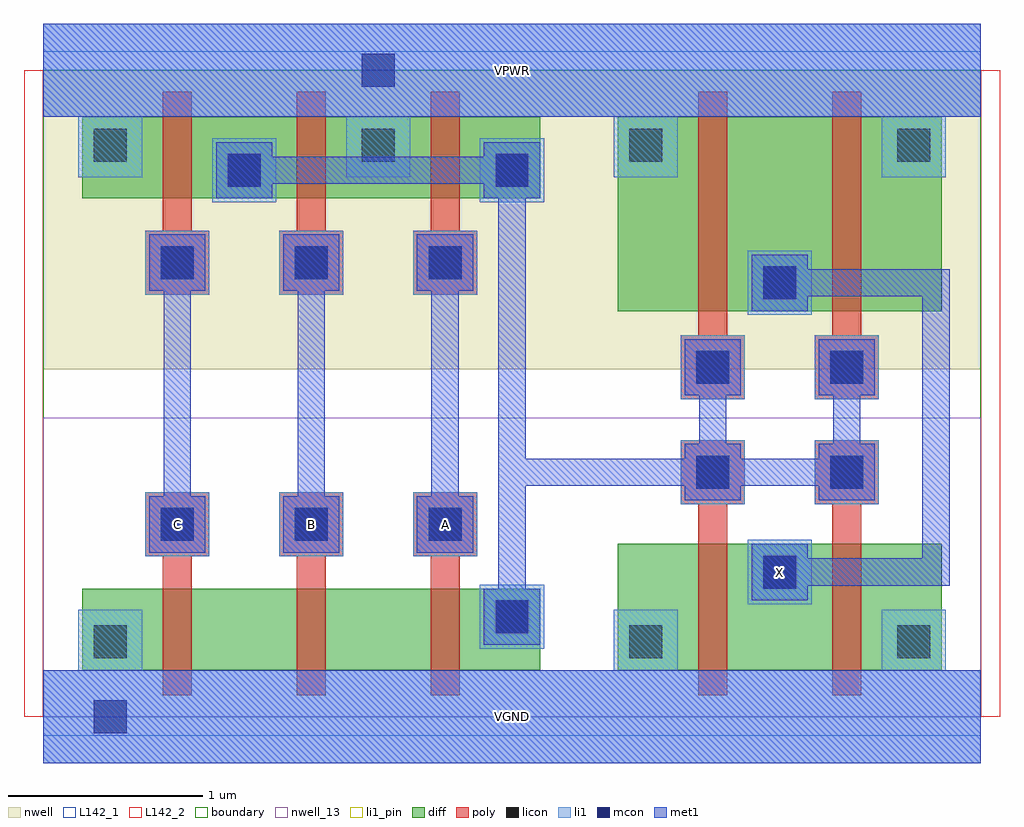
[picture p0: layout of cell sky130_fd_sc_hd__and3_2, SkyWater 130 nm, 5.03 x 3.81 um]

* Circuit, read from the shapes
.subckt sky130_fd_sc_hd__and3_2 A B C VGND VPWR X
XM1 n1 C VGND VSUBS sky130_fd_pr__nfet_01v8 w=0.42 l=0.15
XM2 n2 B n1 VSUBS sky130_fd_pr__nfet_01v8 w=0.42 l=0.15
XM3 n3 A n2 VSUBS sky130_fd_pr__nfet_01v8 w=0.42 l=0.15
XM4 X n3 VGND VSUBS sky130_fd_pr__nfet_01v8 w=0.65 l=0.15 m=2
XM5 n3 C VPWR n4 sky130_fd_pr__pfet_01v8 w=0.42 l=0.15
XM6 VPWR B n3 n4 sky130_fd_pr__pfet_01v8 w=0.42 l=0.15
XM7 n3 A VPWR n4 sky130_fd_pr__pfet_01v8 w=0.42 l=0.15
XM8 X n3 VPWR n4 sky130_fd_pr__pfet_01v8 w=1 l=0.15 m=2
.ends

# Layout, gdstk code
import gdstk
lib = gdstk.Library(unit=1e-6, precision=1e-09)
def R(c, l, rs):  # rectangles x0, y0, x1, y1
    for r in rs: c.add(gdstk.rectangle(r[:2], r[2:], *l))
def A(c, l, x, y, w, h, nx, ny, dx, dy):  # array of equal rectangles
    R(c, l, [(x+i*dx, y+j*dy, x+i*dx+w, y+j*dy+h) for i in range(nx) for j in range(ny)])
def P(c, l, *ps):  # polygons
    for p in ps: c.add(gdstk.Polygon(p, *l))
nwell_13 = (64, 13)
nwell = (64, 20)
diff = (65, 20)
poly = (66, 20)
licon = (66, 44)
li1_pin = (67, 16)
li1 = (67, 20)
mcon = (67, 44)
met1 = (68, 20)
L142_1 = (142, 1)
L142_2 = (142, 2)
boundary = (235, 4)

sky130_fd_sc_hd__and3_2 = lib.new_cell('sky130_fd_sc_hd__and3_2')
R(sky130_fd_sc_hd__and3_2, nwell_13, [(0,0,4.83,1.54)])
R(sky130_fd_sc_hd__and3_2, nwell, [(0,1.79,4.83,3.33)])
R(sky130_fd_sc_hd__and3_2, diff, [(0.2,0.24,2.56,0.66), (0.2,0.24,0.615,0.66), (0.615,0.24,1.305,0.66), (1.305,0.24,1.995,0.66), (1.995,0.24,2.56,0.66), (2.96,0.24,4.63,0.89), (2.96,0.24,3.375,0.89), (3.375,0.24,4.065,0.89), (4.065,0.24,4.63,0.89), (2.96,2.09,4.63,3.09), (2.96,2.09,3.375,3.09), (3.375,2.09,4.065,3.09), (4.065,2.09,4.63,3.09), (0.2,2.67,2.56,3.09), (0.2,2.67,0.615,3.09), (0.615,2.67,1.305,3.09), (1.305,2.67,1.995,3.09), (1.995,2.67,2.56,3.09)])
P(sky130_fd_sc_hd__and3_2, poly, [(1.305,0.11),(1.305,0.825),(1.215,0.825),(1.215,1.155),(1.545,1.155),(1.545,0.825),(1.455,0.825),(1.455,0.11)],
  [(1.215,2.175),(1.215,2.505),(1.305,2.505),(1.305,3.22),(1.455,3.22),(1.455,2.505),(1.545,2.505),(1.545,2.175)],
  [(3.375,0.11),(3.375,1.095),(3.285,1.095),(3.285,1.425),(3.615,1.425),(3.615,1.095),(3.525,1.095),(3.525,0.11)],
  [(4.065,0.11),(4.065,1.095),(3.975,1.095),(3.975,1.425),(4.305,1.425),(4.305,1.095),(4.215,1.095),(4.215,0.11)],
  [(3.285,1.635),(3.285,1.965),(3.375,1.965),(3.375,3.22),(3.525,3.22),(3.525,1.965),(3.615,1.965),(3.615,1.635)],
  [(3.975,1.635),(3.975,1.965),(4.065,1.965),(4.065,3.22),(4.215,3.22),(4.215,1.965),(4.305,1.965),(4.305,1.635)],
  [(0.615,0.11),(0.615,0.825),(0.525,0.825),(0.525,1.155),(0.855,1.155),(0.855,0.825),(0.765,0.825),(0.765,0.11)],
  [(0.525,2.175),(0.525,2.505),(0.615,2.505),(0.615,3.22),(0.765,3.22),(0.765,2.505),(0.855,2.505),(0.855,2.175)],
  [(1.995,0.11),(1.995,0.825),(1.905,0.825),(1.905,1.155),(2.235,1.155),(2.235,0.825),(2.145,0.825),(2.145,0.11)],
  [(1.905,2.175),(1.905,2.505),(1.995,2.505),(1.995,3.22),(2.145,3.22),(2.145,2.505),(2.235,2.505),(2.235,2.175)])
A(sky130_fd_sc_hd__and3_2, licon, 0.605, 0.905, 0.17, 0.17, 3, 2, 0.69, 1.35)
A(sky130_fd_sc_hd__and3_2, licon, 0.26, 2.86, 0.17, 0.17, 4, 1, 1.38, 0)
R(sky130_fd_sc_hd__and3_2, licon, [(0.26,0.3,0.43,0.47), (3.02,0.3,3.19,0.47), (4.4,0.3,4.57,0.47), (2.33,0.43,2.5,0.6), (3.71,0.66,3.88,0.83), (3.365,1.175,3.535,1.345), (4.055,1.175,4.225,1.345), (3.365,1.715,3.535,1.885), (4.055,1.715,4.225,1.885), (3.71,2.15,3.88,2.32), (0.95,2.73,1.12,2.9), (2.33,2.73,2.5,2.9)])
A(sky130_fd_sc_hd__and3_2, li1_pin, 0.525, 0.825, 0.33, 0.33, 3, 1, 0.69, 0)
R(sky130_fd_sc_hd__and3_2, li1_pin, [(0,-0.24,4.83,0.24), (3.63,0.58,3.96,0.91), (0,3.09,4.83,3.57)])
A(sky130_fd_sc_hd__and3_2, li1, 0.525, 0.825, 0.33, 0.33, 3, 2, 0.69, 1.35)
R(sky130_fd_sc_hd__and3_2, li1, [(2.25,0.35,2.58,0.68), (3.63,0.58,3.96,0.91), (3.285,1.095,3.615,1.425), (3.975,1.095,4.305,1.425), (3.285,1.635,3.615,1.965), (3.975,1.635,4.305,1.965), (3.63,2.07,3.96,2.4), (0.87,2.65,1.2,2.98), (2.25,2.65,2.58,2.98)])
P(sky130_fd_sc_hd__and3_2, li1, [(0.18,2.78),(0.18,3.09),(0,3.09),(0,3.57),(4.83,3.57),(4.83,3.09),(4.65,3.09),(4.65,2.78),(4.32,2.78),(4.32,3.09),(3.27,3.09),(3.27,2.78),(2.94,2.78),(2.94,3.09),(1.89,3.09),(1.89,2.78),(1.56,2.78),(1.56,3.09),(0.51,3.09),(0.51,2.78)],
  [(0,-0.24),(0,0.24),(0.18,0.24),(0.18,0.55),(0.51,0.55),(0.51,0.24),(2.94,0.24),(2.94,0.55),(3.27,0.55),(3.27,0.24),(4.32,0.24),(4.32,0.55),(4.65,0.55),(4.65,0.24),(4.83,0.24),(4.83,-0.24)])
A(sky130_fd_sc_hd__and3_2, mcon, 0.605, 0.905, 0.17, 0.17, 3, 2, 0.69, 1.35)
R(sky130_fd_sc_hd__and3_2, mcon, [(0.26,-0.085,0.43,0.085), (2.33,0.43,2.5,0.6), (3.71,0.66,3.88,0.83), (3.365,1.175,3.535,1.345), (4.055,1.175,4.225,1.345), (3.365,1.715,3.535,1.885), (4.055,1.715,4.225,1.885), (3.71,2.15,3.88,2.32), (0.95,2.73,1.12,2.9), (2.33,2.73,2.5,2.9), (1.64,3.245,1.81,3.415)])
R(sky130_fd_sc_hd__and3_2, met1, [(0,-0.24,4.83,0.24), (0,3.09,4.83,3.57)])
P(sky130_fd_sc_hd__and3_2, met1, [(1.235,0.845),(1.235,1.135),(1.31,1.135),(1.31,2.195),(1.235,2.195),(1.235,2.485),(1.525,2.485),(1.525,2.195),(1.45,2.195),(1.45,1.135),(1.525,1.135),(1.525,0.845)],
  [(2.27,0.37),(2.27,0.66),(2.345,0.66),(2.345,2.67),(2.27,2.67),(2.27,2.745),(1.18,2.745),(1.18,2.67),(0.89,2.67),(0.89,2.96),(1.18,2.96),(1.18,2.885),(2.27,2.885),(2.27,2.96),(2.56,2.96),(2.56,2.67),(2.485,2.67),(2.485,1.33),(3.305,1.33),(3.305,1.405),(3.38,1.405),(3.38,1.655),(3.305,1.655),(3.305,1.945),(3.595,1.945),(3.595,1.655),(3.52,1.655),(3.52,1.405),(3.595,1.405),(3.595,1.33),(3.995,1.33),(3.995,1.405),(4.07,1.405),(4.07,1.655),(3.995,1.655),(3.995,1.945),(4.285,1.945),(4.285,1.655),(4.21,1.655),(4.21,1.405),(4.285,1.405),(4.285,1.115),(3.995,1.115),(3.995,1.19),(3.595,1.19),(3.595,1.115),(3.305,1.115),(3.305,1.19),(2.485,1.19),(2.485,0.66),(2.56,0.66),(2.56,0.37)],
  [(0.545,0.845),(0.545,1.135),(0.62,1.135),(0.62,2.195),(0.545,2.195),(0.545,2.485),(0.835,2.485),(0.835,2.195),(0.76,2.195),(0.76,1.135),(0.835,1.135),(0.835,0.845)],
  [(1.925,0.845),(1.925,1.135),(2,1.135),(2,2.195),(1.925,2.195),(1.925,2.485),(2.215,2.485),(2.215,2.195),(2.14,2.195),(2.14,1.135),(2.215,1.135),(2.215,0.845)],
  [(3.65,0.6),(3.65,0.89),(3.94,0.89),(3.94,0.815),(4.53,0.815),(4.53,2.165),(3.94,2.165),(3.94,2.09),(3.65,2.09),(3.65,2.38),(3.94,2.38),(3.94,2.305),(4.67,2.305),(4.67,0.675),(3.94,0.675),(3.94,0.6)])
R(sky130_fd_sc_hd__and3_2, L142_1, [(0,-0.1,4.83,0), (0,3.33,4.83,3.43)])
R(sky130_fd_sc_hd__and3_2, L142_2, [(-0.1,0,0,3.33), (4.83,0,4.93,3.33)])
R(sky130_fd_sc_hd__and3_2, boundary, [(0,0,4.83,3.33)])
sky130_fd_sc_hd__and3_2.add(gdstk.Label('X', (3.795,0.745), layer=67, texttype=5))
sky130_fd_sc_hd__and3_2.add(gdstk.Label('A', (2.07,0.99), layer=67, texttype=5))
sky130_fd_sc_hd__and3_2.add(gdstk.Label('C', (0.69,0.99), layer=67, texttype=5))
sky130_fd_sc_hd__and3_2.add(gdstk.Label('B', (1.38,0.99), layer=67, texttype=5))
sky130_fd_sc_hd__and3_2.add(gdstk.Label('VGND', (2.415,0), layer=67, texttype=5))
sky130_fd_sc_hd__and3_2.add(gdstk.Label('VPWR', (2.415,3.33), layer=67, texttype=5))
sky130_fd_sc_hd__and3_2.add(gdstk.Label('VGND', (2.415,0), layer=68, texttype=5))
sky130_fd_sc_hd__and3_2.add(gdstk.Label('VPWR', (2.415,3.33), layer=68, texttype=5))

lib.write_gds('sky130_fd_sc_hd__and3_2.gds')
